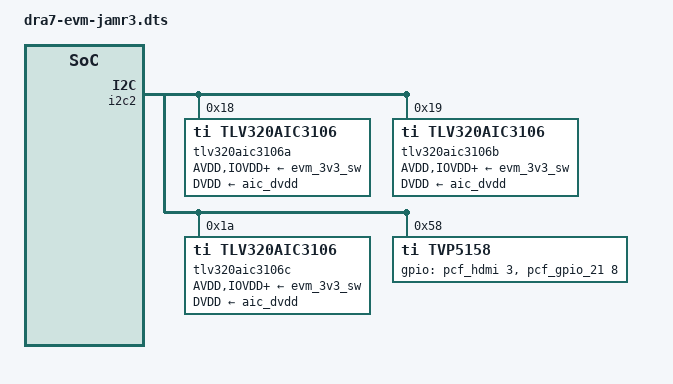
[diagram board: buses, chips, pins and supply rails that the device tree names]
#include "dra7-evm-lcd7.dts"
/ {
	multicodec_sound {
		compatible = "ti,dra7xx-jamr3-multicodec-evm";
		ti,model = "DRA7xx-JAMR3";
		ti,always-on;
		clocks = <&atl_clkin1_ck>;
		clock-names = "ti,codec-clock";

		ti,audio-routing =
			"J3A LINE1L",           "JAMR3 Stereo Aux In",
			"J3A LINE1R",           "JAMR3 Stereo Aux In",
			"J3B LINE1L",           "JAMR3 Mono Mic 1",
			"J3B LINE1R",           "JAMR3 Mono Mic 2",
			"JAMR3 Line Out 1",     "J3A LLOUT",
			"JAMR3 Line Out 1",     "J3A RLOUT",
			"JAMR3 Line Out 2",     "J3B LLOUT",
			"JAMR3 Line Out 2",     "J3B RLOUT",
			"JAMR3 Line Out 3",     "J3C LLOUT",
			"JAMR3 Line Out 3",     "J3C RLOUT";

		/* Multichannel DAI link */
		ti,multichannel-cpu = <&mcasp6>;
		ti,multichannel-codec-a = <&tlv320aic3106a>;
		ti,multichannel-codec-b = <&tlv320aic3106b>;
		ti,multichannel-codec-c = <&tlv320aic3106c>;
		ti,multichannel-slots = <8>;
	};
};

&i2c2 {
	tlv320aic3106a: tlv320aic3106@18 {
		compatible = "ti,tlv320aic3106";
		reg = <0x18>;
		adc-settle-ms = <40>;
		ai3x-micbias-vg = <1>;		/* 2.0V */
		status = "okay";
		name-prefix = "J3A";

		/* Regulators */
		AVDD-supply = <&evm_3v3_sw>;
		IOVDD-supply = <&evm_3v3_sw>;
		DRVDD-supply = <&evm_3v3_sw>;
		DVDD-supply = <&aic_dvdd>;
	};

	tlv320aic3106b: tlv320aic3106@19 {
		compatible = "ti,tlv320aic3106";
		reg = <0x19>;
		adc-settle-ms = <40>;
		ai3x-micbias-vg = <1>;		/* 2.0V */
		status = "okay";
		name-prefix = "J3B";

		/* Regulators */
		AVDD-supply = <&evm_3v3_sw>;
		IOVDD-supply = <&evm_3v3_sw>;
		DRVDD-supply = <&evm_3v3_sw>;
		DVDD-supply = <&aic_dvdd>;
	};

	tlv320aic3106c: tlv320aic3106@1a {
		compatible = "ti,tlv320aic3106";
		reg = <0x1a>;
		adc-settle-ms = <40>;
		ai3x-micbias-vg = <1>;		/* 2.0V */
		status = "okay";
		name-prefix = "J3C";

		/* Regulators */
		AVDD-supply = <&evm_3v3_sw>;
		IOVDD-supply = <&evm_3v3_sw>;
		DRVDD-supply = <&evm_3v3_sw>;
		DVDD-supply = <&aic_dvdd>;
	};

	tvp5158@58 {
		compatible= "ti,tvp5158";
		reg = <0x58>;

		gpios = <&pcf_hdmi 3 0>,
			<&pcf_gpio_21 8 0>;
		port {
			tvp_decoder: endpoint@0 {
				/* No properties for BT656 */
			};
		};
	};
};

&vin1a {
	endpoint {
		slave-mode;
		remote-endpoint = <&tvp_decoder>;
	};
};
